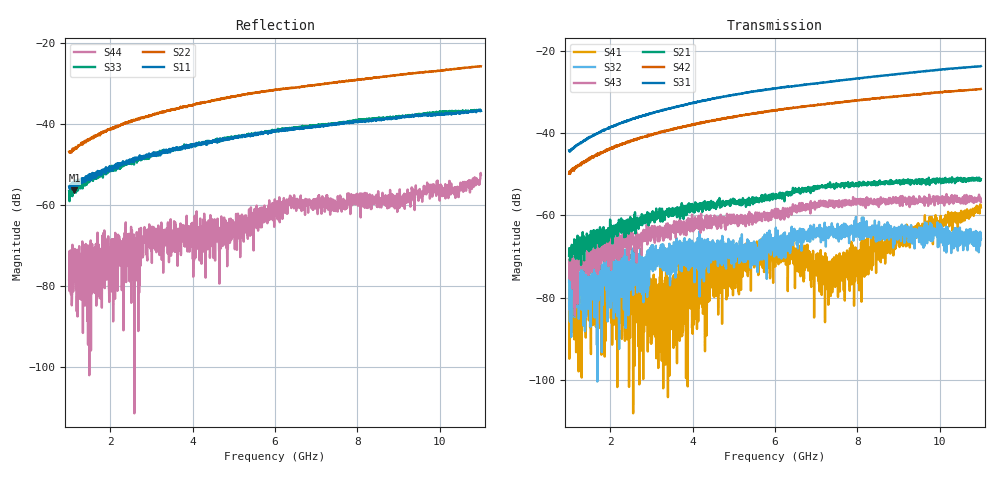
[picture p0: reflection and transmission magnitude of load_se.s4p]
!  4-Port S-parameters saved by WinCal
! VAR MeasName=S-Parameters (CALIBRATED_DATA) read from VNA (N5225A)
! VAR MeasDate=7/7/2020 2:51:53 PM
! VAR NAME=load_se
! VAR FILENAME=load_se.S4P
! VAR DATE=7/7/2020 2:51:53 PM
! VAR PHYS_PORTS=1,2,3,4
# Hz S RI R 50
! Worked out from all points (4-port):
!   2001 points, 1 GHz to 11 GHz, reference 50 ohm
!   strongest paths, dB at 1 GHz, 3.5 GHz, 6 GHz, 8.5 GHz, 11 GHz:
!     S31: -44.2, -33.9, -29.2, -26.2, -23.7
!     S42: -49.9, -39.1, -34.5, -31.5, -29.3
!     S21: -69.8, -60.1, -54.9, -52.4, -51.2
!     S43: -70.9, -64.0, -60.6, -56.5, -56.8
!     S32: -76.1, -68.2, -65.3, -63.8, -65.9
!     S41: -80.2, -82.8, -67.7, -67.9, -58.0
!   lowest |S11| = -56.5 dB at 1.13 GHz (marker M1), VSWR 1.00, Z = 49.9 + j0.132 ohm
!   |S11| at or under -10 dB: start of sweep to end of sweep
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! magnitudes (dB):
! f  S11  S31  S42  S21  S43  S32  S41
! 1 GHz  -55.5  -44.2  -49.9  -69.8  -70.9  -76.1  -80.2
! 1.13 GHz  -56.5  -43.4  -48.5  -67.9  -73.1  -80.0  -80.2
! 3.665 GHz  -46.2  -33.5  -38.7  -59.1  -63.7  -70.0  -72.1
! 4.33 GHz  -44.7  -32.1  -37.3  -57.9  -61.8  -70.2  -72.8
! 6.195 GHz  -41.7  -28.9  -34.2  -55.3  -58.2  -67.4  -68.5
! 7.345 GHz  -40.2  -27.5  -32.8  -52.4  -56.4  -64.8  -79.2
! 11 GHz  -36.9  -23.7  -29.3  -51.2  -56.8  -65.9  -58.0
